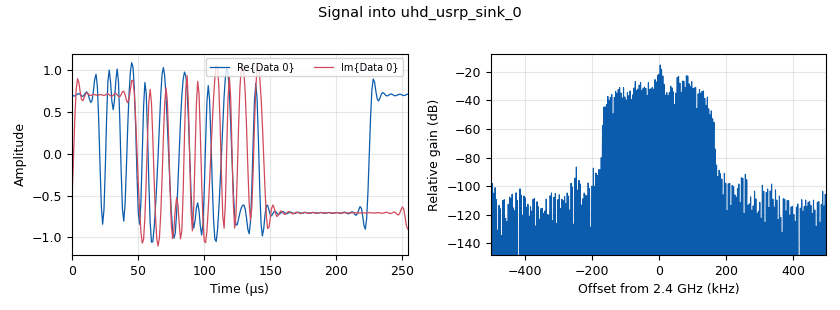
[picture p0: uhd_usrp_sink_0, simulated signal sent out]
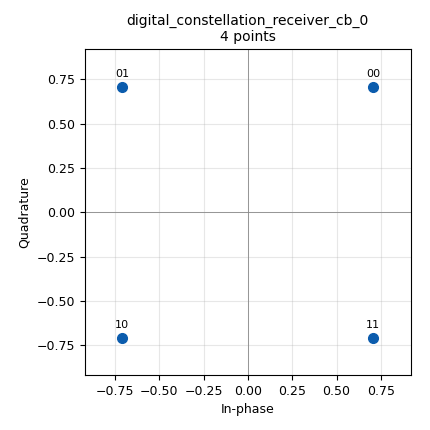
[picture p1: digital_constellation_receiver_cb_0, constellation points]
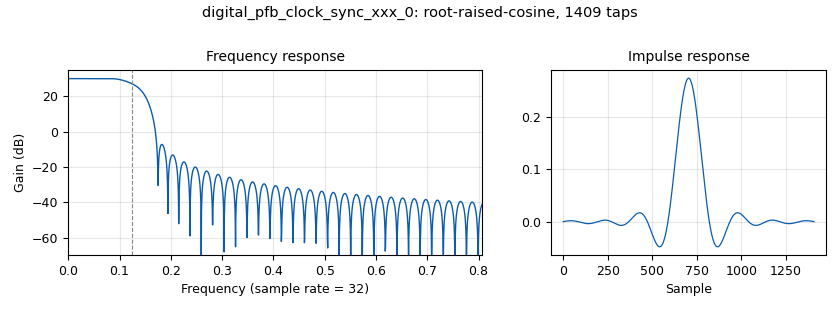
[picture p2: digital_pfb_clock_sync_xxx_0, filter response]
options:
  parameters:
    author: iar
    generate_options: qt_gui
    id: QPSK_simulation_relay
    output_language: python
    title: QPSK Simulation Relay
  states: {}

blocks:
- name: arity
  id: variable
  parameters:
    value: '4'
  states: {}
- name: centerfreq
  id: variable
  parameters:
    value: 2.4e9
  states: {}
- name: data
  id: variable
  parameters:
    value: '[0]*4+[1,0,1,0]'
  states: {}
- name: delay
  id: variable_qtgui_range
  parameters:
    label: Delay
    start: '0'
    step: '1'
    stop: '200'
    value: '0'
  states: {}
- name: delay_d6
  id: variable_qtgui_range
  parameters:
    label: D6 Delay
    rangeType: int
    start: '-100'
    step: '1'
    stop: '200'
    value: '0'
  states: {}
- name: excess_bw
  id: variable
  parameters:
    value: '0.35'
  states: {}
- name: freq_off
  id: variable_qtgui_range
  parameters:
    gui_hint: 1,0,1,1
    label: Freq. Off.
    start: '-0.25'
    step: '0.0001'
    stop: '0.25'
    value: '0'
  states: {}
- name: nfilts
  id: variable
  parameters:
    value: '32'
  states: {}
- name: noise
  id: variable_qtgui_range
  parameters:
    gui_hint: 0,1,1,1
    label: Noise Power
    start: '-50'
    step: '1'
    stop: '10'
    value: '-30'
  states: {}
- name: path_loss
  id: variable_qtgui_range
  parameters:
    gui_hint: 0,0,1,1
    label: Path Loss (dB)
    start: '0'
    step: '5'
    stop: '140'
    value: '30'
  states: {}
- name: phase_bw
  id: variable_qtgui_range
  parameters:
    label: 'Phase: Bandwidth'
    start: '0.0'
    step: '0.01'
    stop: '1.0'
    value: 6.28/100.0
    widget: slider
  states: {}
- name: preamble
  id: variable
  parameters:
    value: '[0x70, 0x72, 0x65, 0x61, 0x6D, 0x62, 0x6C, 0x65]'
  states: {}
- name: qpsk
  id: variable_constellation_rect
  parameters:
    const_points: '[0.707+0.707j, -0.707+0.707j, -0.707-0.707j, 0.707-0.707j]'
    imag_sect: '2'
    real_sect: '2'
    rot_sym: '4'
    sym_map: '[0, 1, 2, 3]'
    w_imag_sect: '1'
    w_real_sect: '1'
  states: {}
- name: rrc_taps
  id: variable
  parameters:
    value: firdes.root_raised_cosine(nfilts, nfilts, 1.0/float(sps), 0.35, 11*sps*nfilts)
  states: {}
- name: samp_rate
  id: variable
  parameters:
    value: 1e6
  states: {}
- name: sps
  id: variable
  parameters:
    value: '4'
  states: {}
- name: time_off
  id: variable_qtgui_range
  parameters:
    gui_hint: 1,1,1,1
    label: Time Off.
    start: '0.9999'
    step: '0.00001'
    stop: '1.0001'
    value: '1.0'
  states: {}
- name: timing_loop_bw
  id: variable_qtgui_range
  parameters:
    label: 'Time: BW'
    start: '0.0'
    step: '0.01'
    stop: '0.2'
    value: 6.28/100.0
    widget: slider
  states: {}
- name: variable_adaptive_algorithm
  id: variable_adaptive_algorithm
  parameters:
    cons: qpsk
    modulus: '4'
    step_size: '.0001'
    type: cma
  states: {}
- name: blocks_char_to_float_0_0
  id: blocks_char_to_float
  parameters:
    scale: '1'
  states: {}
- name: blocks_char_to_float_0_0_0
  id: blocks_char_to_float
  parameters:
    scale: '1'
  states: {}
- name: blocks_char_to_float_0_0_1
  id: blocks_char_to_float
  parameters:
    scale: '1'
  states: {}
- name: blocks_complex_to_mag_squared_0_1
  id: blocks_complex_to_mag_squared
  parameters:
    vlen: '4096'
  states: {state: disabled}
- name: blocks_delay_0
  id: blocks_delay
  parameters:
    delay: int(delay)
    type: float
  states: {}
- name: blocks_delay_0_0
  id: blocks_delay
  parameters:
    delay: delay_d6
    type: complex
  states: {}
- name: blocks_file_sink_0
  id: blocks_file_sink
  parameters:
    file: /home/iar/Desktop/XXC_In-Band-USRP/Attacker_TX_RX/XXC/Constellation/Data/D5_attacker
    type: complex
  states: {state: disabled}
- name: blocks_file_sink_1
  id: blocks_file_sink
  parameters:
    file: /home/iar/Desktop/XXC_In-Band-USRP/Attacker_TX_RX/XXC/Constellation/Data/D6_attacker
    type: complex
  states: {state: disabled}
- name: blocks_multiply_const_vxx_0
  id: blocks_multiply_const_vxx
  parameters:
    const: '4'
    type: complex
  states: {}
- name: blocks_stream_to_vector_0
  id: blocks_stream_to_vector
  parameters:
    num_items: '4096'
    type: complex
  states: {state: disabled}
- name: blocks_unpack_k_bits_bb_0
  id: blocks_unpack_k_bits_bb
  parameters:
    k: '2'
  states: {}
- name: blocks_unpack_k_bits_bb_0_0
  id: blocks_unpack_k_bits_bb
  parameters:
    k: '8'
  states: {}
- name: blocks_unpack_k_bits_bb_0_1
  id: blocks_unpack_k_bits_bb
  parameters:
    k: '2'
  states: {}
- name: blocks_vector_source_x_0_0
  id: blocks_vector_source_x
  parameters:
    comment: 'TX: transmitting bit'
    repeat: 'True'
    type: byte
    vector: preamble+data
  states: {}
- name: blocks_vector_to_stream_0
  id: blocks_vector_to_stream
  parameters:
    num_items: '4096'
    type: float
  states: {state: disabled}
- name: digital_constellation_modulator_0
  id: digital_constellation_modulator
  parameters:
    constellation: qpsk
    differential: 'True'
    excess_bw: excess_bw
    samples_per_symbol: sps
  states: {}
- name: digital_constellation_receiver_cb_0
  id: digital_constellation_receiver_cb
  parameters:
    constellation: qpsk
    fmax: '0'
    fmin: '0'
    loop_bw: excess_bw
  states: {}
- name: digital_constellation_receiver_cb_0_0
  id: digital_constellation_receiver_cb
  parameters:
    constellation: qpsk
    fmax: '0'
    fmin: '0'
    loop_bw: excess_bw
  states: {}
- name: digital_costas_loop_cc_0
  id: digital_costas_loop_cc
  parameters:
    order: arity
    w: phase_bw
  states: {}
- name: digital_costas_loop_cc_0_0
  id: digital_costas_loop_cc
  parameters:
    order: arity
    w: phase_bw
  states: {}
- name: digital_diff_decoder_bb_0
  id: digital_diff_decoder_bb
  parameters:
    coding: digital.DIFF_DIFFERENTIAL
    modulus: '4'
  states: {}
- name: digital_diff_decoder_bb_0_0
  id: digital_diff_decoder_bb
  parameters:
    coding: digital.DIFF_DIFFERENTIAL
    modulus: '4'
  states: {}
- name: digital_linear_equalizer_0
  id: digital_linear_equalizer
  parameters:
    alg: variable_adaptive_algorithm
    num_taps: '15'
    sps: '2'
    training_sequence: preamble
  states: {}
- name: digital_linear_equalizer_0_0
  id: digital_linear_equalizer
  parameters:
    alg: variable_adaptive_algorithm
    num_taps: '15'
    sps: '2'
    training_sequence: preamble
  states: {}
- name: digital_map_bb_0
  id: digital_map_bb
  parameters:
    map: '[0,1,2,3]'
  states: {}
- name: digital_map_bb_0_0
  id: digital_map_bb
  parameters:
    map: '[0,1,2,3]'
  states: {}
- name: digital_pfb_clock_sync_xxx_0
  id: digital_pfb_clock_sync_xxx
  parameters:
    filter_size: nfilts
    init_phase: nfilts/2
    loop_bw: timing_loop_bw
    max_dev: '1.5'
    osps: '2'
    sps: sps
    taps: rrc_taps
    type: ccf
  states: {}
- name: digital_pfb_clock_sync_xxx_0_0
  id: digital_pfb_clock_sync_xxx
  parameters:
    filter_size: nfilts
    init_phase: nfilts/2
    loop_bw: timing_loop_bw
    max_dev: '1.5'
    osps: '2'
    sps: sps
    taps: rrc_taps
    type: ccf
  states: {}
- name: fft_vxx_0_0
  id: fft_vxx
  parameters:
    fft_size: '4096'
    forward: 'True'
    shift: 'True'
    type: complex
    window: window.blackmanharris(4096)
  states: {state: disabled}
- name: import_0
  id: import
  parameters:
    imports: import math
  states: {}
- name: note_0
  id: note
  parameters:
    comment: |-
      The CMA equalizer has been
      replaced by a Linear Equalizer
      and an Adaptive Algorithm for
      version 3.9
    note: CMA equalizer replaced
  states: {}
- name: qtgui_const_sink_x_0
  id: qtgui_const_sink_x
  parameters:
    name: '"D5 constellation after processing"'
    size: '1024'
    type: complex
  states: {}
- name: qtgui_const_sink_x_0_1
  id: qtgui_const_sink_x
  parameters:
    name: '"D6 constellation after processing"'
    size: '1024'
    type: complex
  states: {}
- name: qtgui_freq_sink_x_0_0_0
  id: qtgui_freq_sink_x
  parameters:
    bw: samp_rate
    fc: '0'
    fftsize: '2048'
    label1: D5
    label2: D6
    name: Recevied Frequency Compare
    nconnections: '2'
    type: complex
  states: {}
- name: qtgui_time_sink_x_0
  id: qtgui_time_sink_x
  parameters:
    size: '1024'
    srate: samp_rate
    type: float
  states: {state: disabled}
- name: qtgui_time_sink_x_0_0
  id: qtgui_time_sink_x
  parameters:
    gui_hint: 2,1,1,1
    label1: D5
    label2: Tx Bits
    label3: D6
    name: ''
    nconnections: '3'
    size: '128'
    srate: samp_rate
    tr_mode: qtgui.TRIG_MODE_AUTO
    type: float
    ymax: '2'
  states: {}
- name: qtgui_vector_sink_f_0
  id: qtgui_vector_sink_f
  parameters:
    ref_level: '-100'
    vlen: '4096'
    x_start: '0'
    x_step: '1.0'
  states: {state: disabled}
- name: uhd_usrp_sink_0
  id: uhd_usrp_sink
  parameters:
    ant0: '"TX/RX"'
    bw0: 22e6
    center_freq0: centerfreq
    dev_addr: '"addr = 192.168.10.4"'
    gain0: '1'
    gain_type0: normalized
    samp_rate: samp_rate
    sync: pc_clock
    type: fc32
  states: {}
- name: uhd_usrp_sink_0_0
  id: uhd_usrp_sink
  parameters:
    ant0: '"TX/RX"'
    bw0: 22e6
    center_freq0: centerfreq
    dev_addr: '"addr = 192.168.10.7"'
    gain0: '1'
    gain_type0: normalized
    samp_rate: samp_rate
    sync: pc_clock
    type: fc32
  states: {state: disabled}
- name: uhd_usrp_source_0
  id: uhd_usrp_source
  parameters:
    ant0: '"TX/RX"'
    bw0: 22e6
    center_freq0: centerfreq
    dev_addr: '"addr = 192.168.10.5"'
    gain0: '1'
    gain_type0: normalized
    samp_rate: samp_rate
    sync: pc_clock
    type: fc32
  states: {}
- name: uhd_usrp_source_0_0
  id: uhd_usrp_source
  parameters:
    ant0: '"RX2"'
    bw0: 22e6
    center_freq0: centerfreq
    dev_addr: '"addr = 192.168.10.6"'
    gain0: '1'
    gain_type0: normalized
    samp_rate: samp_rate
    sync: pc_clock
    type: fc32
  states: {}

connections:
- [blocks_char_to_float_0_0, '0', qtgui_time_sink_x_0_0, '0']
- [blocks_char_to_float_0_0_0, '0', blocks_delay_0, '0']
- [blocks_char_to_float_0_0_1, '0', qtgui_time_sink_x_0_0, '2']
- [blocks_complex_to_mag_squared_0_1, '0', blocks_vector_to_stream_0, '0']
- [blocks_complex_to_mag_squared_0_1, '0', qtgui_vector_sink_f_0, '0']
- [blocks_delay_0, '0', qtgui_time_sink_x_0_0, '1']
- [blocks_delay_0_0, '0', blocks_file_sink_1, '0']
- [blocks_delay_0_0, '0', digital_constellation_receiver_cb_0_0, '0']
- [blocks_delay_0_0, '0', qtgui_const_sink_x_0_1, '0']
- [blocks_delay_0_0, '0', qtgui_freq_sink_x_0_0_0, '1']
- [blocks_multiply_const_vxx_0, '0', blocks_delay_0_0, '0']
- [blocks_multiply_const_vxx_0, '0', blocks_stream_to_vector_0, '0']
- [blocks_stream_to_vector_0, '0', fft_vxx_0_0, '0']
- [blocks_unpack_k_bits_bb_0, '0', blocks_char_to_float_0_0, '0']
- [blocks_unpack_k_bits_bb_0_0, '0', blocks_char_to_float_0_0_0, '0']
- [blocks_unpack_k_bits_bb_0_1, '0', blocks_char_to_float_0_0_1, '0']
- [blocks_vector_source_x_0_0, '0', blocks_unpack_k_bits_bb_0_0, '0']
- [blocks_vector_source_x_0_0, '0', digital_constellation_modulator_0, '0']
- [blocks_vector_to_stream_0, '0', qtgui_time_sink_x_0, '0']
- [digital_constellation_modulator_0, '0', uhd_usrp_sink_0, '0']
- [digital_constellation_modulator_0, '0', uhd_usrp_sink_0_0, '0']
- [digital_constellation_receiver_cb_0, '0', digital_diff_decoder_bb_0, '0']
- [digital_constellation_receiver_cb_0_0, '0', digital_diff_decoder_bb_0_0, '0']
- [digital_costas_loop_cc_0, '0', blocks_file_sink_0, '0']
- [digital_costas_loop_cc_0, '0', digital_constellation_receiver_cb_0, '0']
- [digital_costas_loop_cc_0, '0', qtgui_const_sink_x_0, '0']
- [digital_costas_loop_cc_0, '0', qtgui_freq_sink_x_0_0_0, '0']
- [digital_costas_loop_cc_0_0, '0', blocks_multiply_const_vxx_0, '0']
- [digital_diff_decoder_bb_0, '0', digital_map_bb_0, '0']
- [digital_diff_decoder_bb_0_0, '0', digital_map_bb_0_0, '0']
- [digital_linear_equalizer_0, '0', digital_costas_loop_cc_0, '0']
- [digital_linear_equalizer_0_0, '0', digital_costas_loop_cc_0_0, '0']
- [digital_map_bb_0, '0', blocks_unpack_k_bits_bb_0, '0']
- [digital_map_bb_0_0, '0', blocks_unpack_k_bits_bb_0_1, '0']
- [digital_pfb_clock_sync_xxx_0, '0', digital_linear_equalizer_0, '0']
- [digital_pfb_clock_sync_xxx_0_0, '0', digital_linear_equalizer_0_0, '0']
- [fft_vxx_0_0, '0', blocks_complex_to_mag_squared_0_1, '0']
- [uhd_usrp_source_0, '0', digital_pfb_clock_sync_xxx_0, '0']
- [uhd_usrp_source_0_0, '0', digital_pfb_clock_sync_xxx_0_0, '0']

metadata:
  file_format: 1
